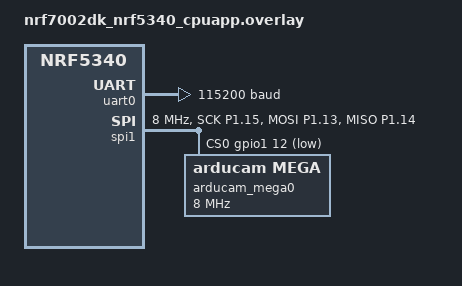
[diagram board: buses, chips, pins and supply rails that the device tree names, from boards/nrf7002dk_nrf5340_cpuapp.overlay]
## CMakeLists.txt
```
#
# Copyright (c) 2022 Nordic Semiconductor ASA
#
# SPDX-License-Identifier: LicenseRef-Nordic-5-Clause
#

cmake_minimum_required(VERSION 3.20.0)

find_package(Zephyr REQUIRED HINTS $ENV{ZEPHYR_BASE})
project(WiFiCamera)

target_sources(app PRIVATE src/main.c)
target_sources(app PRIVATE src/netUtil.c)
```

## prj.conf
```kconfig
#
# Copyright (c) 2022 Nordic Semiconductor ASA
#
# SPDX-License-Identifier: LicenseRef-Nordic-5-Clause
#

# Wi-Fi
# Enable the Wi-Fi relevant configurations
CONFIG_WIFI=y
CONFIG_WIFI_NRF700X=y
CONFIG_WPA_SUPP=y

# Configure the Wi-Fi credentials
CONFIG_WIFI_CREDENTIALS=y
CONFIG_WIFI_CREDENTIALS_STATIC=n

# Networking Management API
# Enable the Network Management relevant configurations
CONFIG_NET_MGMT=y
CONFIG_NET_MGMT_EVENT=y
CONFIG_NET_MGMT_EVENT_INFO=y
CONFIG_NET_MGMT_EVENT_STACK_SIZE=4096
CONFIG_NET_CONNECTION_MANAGER=y
CONFIG_WIFI_MGMT_EXT=y

# Enable support for shell commands
CONFIG_SHELL=y
CONFIG_WIFI_CREDENTIALS_SHELL=y
CONFIG_SHELL_STACK_SIZE=4096

# Logging
CONFIG_LOG=y
CONFIG_LOG_DEFAULT_LEVEL=3

# DK library
CONFIG_DK_LIBRARY=y

# System settings
CONFIG_NEWLIB_LIBC=y
CONFIG_NEWLIB_LIBC_NANO=n

# Networking
CONFIG_NETWORKING=y
CONFIG_NET_NATIVE=y
CONFIG_NET_SOCKETS=y
CONFIG_NET_L2_ETHERNET=y
CONFIG_NET_IPV6=n
CONFIG_NET_IPV4=y
CONFIG_NET_DHCPV4=y

# Memory
CONFIG_SYSTEM_WORKQUEUE_STACK_SIZE=4096
CONFIG_MAIN_STACK_SIZE=4096
CONFIG_HEAP_MEM_POOL_SIZE=153600

# Bluetooth
CONFIG_BT=y
CONFIG_BT_PERIPHERAL=y
CONFIG_BT_GATT_CLIENT=y
CONFIG_BT_DEVICE_NAME="Wifi_Cam_Demo"
CONFIG_BT_DEVICE_APPEARANCE=833
CONFIG_BT_MAX_CONN=1
CONFIG_BT_MAX_PAIRED=1
CONFIG_BT_BUF_ACL_RX_SIZE=502
CONFIG_BT_ATT_PREPARE_COUNT=2
CONFIG_BT_L2CAP_TX_BUF_COUNT=10
CONFIG_BT_L2CAP_TX_MTU=498
CONFIG_BT_CONN_TX_MAX=10
CONFIG_BT_BUF_ACL_TX_COUNT=10
CONFIG_BT_BUF_ACL_TX_SIZE=502
CONFIG_BT_USER_DATA_LEN_UPDATE=y
CONFIG_BT_USER_PHY_UPDATE=y
CONFIG_BT_HCI_CORE_LOG_LEVEL_INF=y
CONFIG_BT_RX_STACK_SIZE=8192

# Arducam Mega SPI Camera
CONFIG_SPI=y
CONFIG_VIDEO=y
CONFIG_VIDEO_INIT_PRIORITY=72
CONFIG_VIDEO_BUFFER_POOL_SZ_MAX=2048
CONFIG_VIDEO_BUFFER_POOL_NUM_MAX=3

CONFIG_DEBUG=y
```

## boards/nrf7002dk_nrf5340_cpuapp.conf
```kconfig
# Create a board-specific file for the secure build target
CONFIG_WIFI_CREDENTIALS_BACKEND_SETTINGS=y
CONFIG_FLASH=y
CONFIG_FLASH_PAGE_LAYOUT=y
CONFIG_FLASH_MAP=y
CONFIG_NVS=y
CONFIG_SETTINGS=y
CONFIG_SETTINGS_NVS=y
```

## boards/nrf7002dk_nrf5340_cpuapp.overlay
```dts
&uart0{
	current-speed = <115200>;
};

&pinctrl {
	spi1_default: spi1_default {
			group1 {
					psels = <NRF_PSEL(SPIM_SCK, 1, 15)>,
							<NRF_PSEL(SPIM_MOSI, 1, 13)>,
							<NRF_PSEL(SPIM_MISO, 1, 14)>;
			};
	};

	spi1_sleep: spi1_sleep {
			group1 {
					psels = <NRF_PSEL(SPIM_SCK, 1, 15)>,
							<NRF_PSEL(SPIM_MOSI, 1, 13)>,
							<NRF_PSEL(SPIM_MISO, 1, 14)>;
					low-power-enable;
			};
	};
};

&spi1 {
	clock-frequency = <8000000>;
	compatible = "nordic,nrf-spim";
	status = "okay";
	pinctrl-0 = <&spi1_default>;
	pinctrl-1 = <&spi1_sleep>;
	pinctrl-names = "default", "sleep";
	cs-gpios = <&gpio1 12 GPIO_ACTIVE_LOW>;
	arducam_mega0:arducam-mega0@0 {
			compatible = "arducam,mega";
			reg = <0>;
			spi-max-frequency = <8000000>;
			status = "okay";
	};
};
```

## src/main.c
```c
/*
 * Copyright (c) 2024 Nordic Semiconductor ASA
 *
 * SPDX-License-Identifier: LicenseRef-Nordic-5-Clause
 */

/** @file
 * @brief WiFi Camera Demo
 */

#include <zephyr/logging/log.h>
LOG_MODULE_REGISTER(WiFiCam, CONFIG_LOG_DEFAULT_LEVEL);

#if defined(CLOCK_FEATURE_HFCLK_DIVIDE_PRESENT) || NRF_CLOCK_HAS_HFCLK192M
#include <nrfx_clock.h>
#endif

#include <stdio.h>
#include <zephyr/device.h>
#include <zephyr/kernel.h>
#include <zephyr/drivers/video.h>
#include <zephyr/drivers/video/arducam_mega.h>
#include <zephyr/net/socket.h>

#include "app_bluetooth.h"

extern int socket_send;
extern uint8_t udp_recv_buf[];
extern struct k_msgq udp_recv_queue;
extern struct k_sem sockets_ready;

#define RESET_CAMERA 0XFF
#define SET_PICTURE_RESOLUTION 0X01
#define SET_VIDEO_RESOLUTION 0X02
#define SET_BRIGHTNESS 0X03
#define SET_CONTRAST 0X04
#define SET_SATURATION 0X05
#define SET_EV 0X06
#define SET_WHITEBALANCE 0X07
#define SET_SPECIAL_EFFECTS 0X08
#define SET_FOCUS_ENABLE 0X09
#define SET_EXPOSURE_GAIN_ENABLE 0X0A
#define SET_WHITE_BALANCE_ENABLE 0X0C
#define SET_MANUAL_GAIN 0X0D
#define SET_MANUAL_EXPOSURE 0X0E
#define GET_CAMERA_INFO 0X0F
#define TAKE_PICTURE 0X10
#define SET_SHARPNESS 0X11
#define DEBUG_WRITE_REGISTER 0X12
#define STOP_STREAM 0X21
#define GET_FRM_VER_INFO 0X30
#define GET_SDK_VER_INFO 0X40
#define SET_IMAGE_QUALITY 0X50
#define SET_LOWPOWER_MODE 0X60

/*
** Arducam mega communication protocols
** https://www.arducam.com/docs/arducam-mega/arducam-mega-getting-started/packs/HostCommunicationProtocol.html
*/
#define COMMAND_MAX_SIZE 6
/* actucal command not count start(0x55) and stop(0xAA) codes*/
static uint8_t command_buf[COMMAND_MAX_SIZE - 2];
static uint8_t head_and_tail[] = {0xff, 0xaa, 0x00, 0xff, 0xbb};

const struct device *video;
struct video_buffer *vbuf;

static bool preview_on = false;
static bool capture_flag = false;
static bool request_stream_stop = false;

static enum APP_MODE {
	APP_MODE_BLE,
	APP_MODE_UDP
} app_mode_current = APP_MODE_UDP;

static void on_timer_count_bytes_func(struct k_timer *timer);
K_TIMER_DEFINE(m_timer_count_bytes, on_timer_count_bytes_func, NULL);
static int counted_bytes_sent = 0;

const uint32_t pixel_format_table[] = {
	VIDEO_PIX_FMT_JPEG,
	VIDEO_PIX_FMT_RGB565,
	VIDEO_PIX_FMT_YUYV,
};

const uint16_t resolution_table[][2] = {
	{160, 120},
	{320, 240},
	{640, 480},
	{800, 600},
	{1280, 720},
	{1280, 960},
	{1600, 1200},
	{1920, 1080},
	{2048, 1536},
	{2592, 1944},
	{96, 96},
	{128, 128},
	{320, 320},
};

const uint8_t resolution_num = sizeof(resolution_table) / 4;

static uint8_t current_resolution;
static uint8_t target_resolution;
static uint8_t take_picture_fmt = 0x1a;

void cam_to_host_command_send(uint8_t type, uint8_t *buffer, uint32_t length)
{
	head_and_tail[2] = type;
	send(socket_send, &head_and_tail[0], 3, 0);
	send(socket_send, (uint8_t *)&length, 4, 0);
	send(socket_send, buffer, length, 0);
	send(socket_send, &head_and_tail[3], 2, 0);
}

int set_mega_resolution(uint8_t sfmt)
{
	uint8_t resolution = sfmt & 0x0f;
	uint8_t pixelformat = (sfmt & 0x70) >> 4;

	if (resolution > resolution_num || pixelformat > 3)
	{
		return -1;
	}
	struct video_format fmt = {.width = resolution_table[resolution][0],
							   .height = resolution_table[resolution][1],
							   .pixelformat = pixel_format_table[pixelformat - 1]};
	current_resolution = resolution;
	return video_set_format(video, VIDEO_EP_OUT, &fmt);
}

void send_picture_data_udp(uint8_t *data, int length)
{
	counted_bytes_sent += length;
	while (length >= 1024) {
		send(socket_send, data, 1024, 0); 
		data += 1024;
		length -= 1024;
	}
	if (length > 0) {
		send(socket_send, data, length, 0); 
	}
}

void send_picture_data_ble(uint8_t *data, int length)
{
	counted_bytes_sent += length;
	app_bt_send_picture_data(data, length);
}

int take_picture(enum APP_MODE mode)
{
	int err;
	enum video_frame_fragmented_status f_status;

	err = video_dequeue(video, VIDEO_EP_OUT, &vbuf, K_FOREVER);
	if (err)
	{
		LOG_ERR("Unable to dequeue video buf");
		return -1;
	}

	f_status = vbuf->flags;

	if (mode == APP_MODE_UDP) {
		head_and_tail[2] = 0x01;
		send(socket_send, &head_and_tail[0], 3, 0);
		send(socket_send, (uint8_t *)&vbuf->bytesframe, 4, 0); 
		target_resolution = (((current_resolution & 0x0f) << 4) | 0x01);
		send(socket_send, &target_resolution, 1, 0);
		send_picture_data_udp(vbuf->buffer, vbuf->bytesused);
	} else {
		app_bt_send_picture_header(vbuf->bytesframe);
		send_picture_data_ble(vbuf->buffer, vbuf->bytesused);
	}

	video_enqueue(video, VIDEO_EP_OUT, vbuf);
	while (f_status == VIDEO_BUF_FRAG)
	{
		video_dequeue(video, VIDEO_EP_OUT, &vbuf, K_FOREVER);
		f_status = vbuf->flags;
		if (mode == APP_MODE_UDP) {
			send_picture_data_udp(vbuf->buffer, vbuf->bytesused);
		} else {
			send_picture_data_ble(vbuf->buffer, vbuf->bytesused);
		}
		video_enqueue(video, VIDEO_EP_OUT, vbuf);
	}

	if (mode == APP_MODE_UDP) {
		send(socket_send, &head_and_tail[3], 2, 0);
	}

	return 0;
}

void video_preview(enum APP_MODE mode)
{
	int err;
	enum video_frame_fragmented_status f_status;
	if (!preview_on)
	{
		return;
	}
	err = video_dequeue(video, VIDEO_EP_OUT, &vbuf, K_FOREVER);
	if (err)
	{
		LOG_INF("Unable to dequeue video buf");
		return;
	}
	f_status = vbuf->flags;

	if (capture_flag)
	{
		capture_flag = false;

		if (mode == APP_MODE_BLE) {
			app_bt_send_picture_header(vbuf->bytesframe);
		} else {
			head_and_tail[2] = 0x01;
			send(socket_send, &head_and_tail[0], 3, 0);
			send(socket_send, (uint8_t *)&vbuf->bytesframe, 4, 0);
			target_resolution = (((current_resolution & 0x0f) << 4) | 0x01);
			send(socket_send, &target_resolution, 1, 0);
		}
	}

	if (mode == APP_MODE_BLE) {
		send_picture_data_ble(vbuf->buffer, vbuf->bytesused);
	} else {
		send_picture_data_udp(vbuf->buffer, vbuf->bytesused);
	}

	if (f_status == VIDEO_BUF_EOF)
	{
		if (mode == APP_MODE_UDP) {
			send(socket_send, &head_and_tail[3], 2, 0);
		}
		capture_flag = true;

		if(request_stream_stop) {
			request_stream_stop = false;
			video_stream_stop(video);
			preview_on = false;
		}
	}

	err = video_enqueue(video, VIDEO_EP_OUT, vbuf);
	if (err)
	{
		LOG_ERR("Unable to requeue video buf");
		return;
	}
}

int report_mega_info(void)
{
	static char str_buf[400];
	uint32_t str_len;
	char *mega_type;
	struct arducam_mega_info mega_info;

	video_get_ctrl(video, VIDEO_CID_ARDUCAM_INFO, &mega_info);

	switch (mega_info.camera_id)
	{
	case ARDUCAM_SENSOR_3MP_1:
	case ARDUCAM_SENSOR_3MP_2:
		mega_type = "3MP";
		break;
	case ARDUCAM_SENSOR_5MP_1:
		mega_type = "5MP";
		break;
	case ARDUCAM_SENSOR_5MP_2:
		mega_type = "5MP_2";
		break;
	default:
		return -ENODEV;
	}

	sprintf(str_buf,
			"ReportCameraInfo\r\nCamera Type:%s\r\n"
			"Camera Support Resolution:%d\r\nCamera Support "
			"special effects:%d\r\nCamera Support Focus:%d\r\n"
			"Camera Exposure Value Max:%ld\r\nCamera Exposure Value "
			"Min:%d\r\nCamera Gain Value Max:%d\r\nCamera Gain Value "
			"Min:%d\r\nCamera Support Sharpness:%d\r\n",
			mega_type, mega_info.support_resolution, mega_info.support_special_effects,
			mega_info.enable_focus, mega_info.exposure_value_max, mega_info.exposure_value_min,
			mega_info.gain_value_max, mega_info.gain_value_min, mega_info.enable_sharpness);
	printk("%s", str_buf);
	str_len = strlen(str_buf);
	cam_to_host_command_send(0x02, str_buf, str_len);
	return 0;
}

uint8_t recv_process(uint8_t *buff)
{
	LOG_INF("recv_process: cmd %x, data %x", buff[0], buff[1]);
	switch (buff[0])
	{
	case SET_PICTURE_RESOLUTION:
		LOG_INF("camcmd: SET_PICTURE_RESOLUTION");

		if (set_mega_resolution(buff[1]) == 0)
		{
			take_picture_fmt = buff[1];
		}
		break;
	case SET_VIDEO_RESOLUTION:
		LOG_INF("camcmd: SET_VIDEO_RESOLUTION");
		if (!preview_on)
		{
			LOG_INF("SET_VIDEO_RESOLUTION preview_on");
			set_mega_resolution(buff[1] | 0x10);
			video_stream_start(video);
			LOG_INF("start video stream");
			capture_flag = true;
		}
		preview_on = true;
		break;
	case SET_BRIGHTNESS:
		video_set_ctrl(video, VIDEO_CID_CAMERA_BRIGHTNESS, &buff[1]);
		break;
	case SET_CONTRAST:
		video_set_ctrl(video, VIDEO_CID_CAMERA_CONTRAST, &buff[1]);
		break;
	case SET_SATURATION:
		video_set_ctrl(video, VIDEO_CID_CAMERA_SATURATION, &buff[1]);
		break;
	case SET_EV:
		video_set_ctrl(video, VIDEO_CID_ARDUCAM_EV, &buff[1]);
		break;
	case SET_WHITEBALANCE:
		video_set_ctrl(video, VIDEO_CID_CAMERA_WHITE_BAL, &buff[1]);
		break;
	case SET_SPECIAL_EFFECTS:
		video_set_ctrl(video, VIDEO_CID_ARDUCAM_COLOR_FX, &buff[1]);
		break;
	case SET_EXPOSURE_GAIN_ENABLE:
		video_set_ctrl(video, VIDEO_CID_CAMERA_EXPOSURE_AUTO, &buff[1]);
		video_set_ctrl(video, VIDEO_CID_CAMERA_GAIN_AUTO, &buff[1]);
	case SET_WHITE_BALANCE_ENABLE:
		video_set_ctrl(video, VIDEO_CID_CAMERA_WHITE_BAL_AUTO, &buff[1]);
		break;
	case SET_SHARPNESS:
		video_set_ctrl(video, VIDEO_CID_ARDUCAM_SHARPNESS, &buff[1]);
		break;
	case SET_MANUAL_GAIN:
		uint16_t gain_value = (buff[1] << 8) | buff[2];

		video_set_ctrl(video, VIDEO_CID_CAMERA_GAIN, &gain_value);
		break;
	case SET_MANUAL_EXPOSURE:
		uint32_t exposure_value = (buff[1] << 16) | (buff[2] << 8) | buff[3];

		video_set_ctrl(video, VIDEO_CID_CAMERA_EXPOSURE, &exposure_value);
		break;
	case GET_CAMERA_INFO:
		report_mega_info();
		break;
	case TAKE_PICTURE:
		video_stream_start(video);
		take_picture(APP_MODE_UDP);
		video_stream_stop(video);
		LOG_INF("take picture");
		break;
	case STOP_STREAM:
		if (preview_on)
		{
			send(socket_send, &head_and_tail[3], 2, 0);
			video_stream_stop(video);
			set_mega_resolution(take_picture_fmt);
			LOG_INF("start video stream");
		}
		preview_on = false;
		break;
	case RESET_CAMERA:
		video_set_ctrl(video, VIDEO_CID_ARDUCAM_RESET, NULL);
		break;
	case SET_IMAGE_QUALITY:
		video_set_ctrl(video, VIDEO_CID_JPEG_COMPRESSION_QUALITY, &buff[1]);
		break;
	case SET_LOWPOWER_MODE:
		video_set_ctrl(video, VIDEO_CID_ARDUCAM_LOWPOWER, &buff[1]);
		break;
	default:
		break;
	}

	return buff[0];
}

uint8_t process_udp_rx_buffer(char *udp_rx_buf, char *command_buf)
{
	uint8_t command_length = 0;

	// Check if udp_rx_buf contains start code (0x55)
	if (udp_rx_buf[0] == 0x55)
	{
		// Find the end code (0xAA) and extract the command
		for (uint8_t i = 1; i < COMMAND_MAX_SIZE; i++)
		{
			if (udp_rx_buf[i] == 0xAA)
			{
				// Copy the command to command_buf
				for (uint8_t j = 1; j < i; j++)
				{
					command_buf[j - 1] = udp_rx_buf[j];
				}
				command_length = i - 1; // Length of the command
				break;
			}
		}
	}

	return command_length;
}

void app_bt_connected_callback(void)
{	
	LOG_INF("Bluetooth connection established. Entering BLE app mode");

	// If we are in streaming mode, stop the streaming
	if (preview_on) {
		video_stream_stop(video);
		preview_on = false;
	}

	// Set the default resolution for the BT app
	set_mega_resolution(0x11);

	app_mode_current = APP_MODE_BLE;
}

void app_bt_disconnected_callback(void)
{
	LOG_INF("Bluetooth disconnected. Entering UDP app mode");
	
	// If we are in streaming mode, stop the streaming
	if (preview_on) {
		video_stream_stop(video);
		preview_on = false;
	}

	app_mode_current = APP_MODE_UDP;
}

void app_bt_take_picture_callback(void)
{
	LOG_INF("TAKE PICTURE");
	video_stream_start(video);
	take_picture(APP_MODE_BLE);
	video_stream_stop(video);
}

void app_bt_enable_stream_callback(bool enable)
{
	// If we are already in the same state, exit
	if(enable == preview_on) return;
	
	if (enable) {
		LOG_INF("Starting stream!");
		video_stream_start(video);
		capture_flag = true;
		preview_on = true;
	} else {
		LOG_INF("Stopping stream");
		request_stream_stop = true;
	}
}

void app_bt_change_resolution_callback(uint8_t resolution)
{
	LOG_INF("Change resolution to %i", resolution);
	set_mega_resolution(0x10 | (resolution & 0xF));
}

const struct app_bt_cb app_bt_callbacks = {
	.connected = app_bt_connected_callback,
	.disconnected = app_bt_disconnected_callback,
    .take_picture = app_bt_take_picture_callback,
	.enable_stream = app_bt_enable_stream_callback,
	.change_resolution = app_bt_change_resolution_callback,
};

static void on_timer_count_bytes_func(struct k_timer *timer)
{
	if (counted_bytes_sent > 0) {
		LOG_INF("Data transferred: %i kbps", (counted_bytes_sent * 8) / 1024);
		counted_bytes_sent = 0;
	}
}

int main(void)
{
	int ret;
	struct video_buffer *buffers[3];
#if defined(CLOCK_FEATURE_HFCLK_DIVIDE_PRESENT) || NRF_CLOCK_HAS_HFCLK192M

	/* hardcode to 128MHz */
	nrfx_clock_divider_set(NRF_CLOCK_DOMAIN_HFCLK, NRF_CLOCK_HFCLK_DIV_1);
#endif
	k_sleep(K_SECONDS(1));
	printk("Starting %s with CPU frequency: %d MHz\n", CONFIG_BOARD, SystemCoreClock / MHZ(1));

	video = DEVICE_DT_GET(DT_NODELABEL(arducam_mega0));

	if (!device_is_ready(video))
	{
		LOG_ERR("Video device %s not ready.", video->name);
		return -1;
	}

	video_stream_stop(video);
	LOG_INF("Device %s is ready!", video->name);

	ret = app_bt_init(&app_bt_callbacks);
	if (ret < 0) {
		LOG_ERR("Error initializing Bluetooth");
		return -1;
	}

	/* Alloc video buffers and enqueue for capture */
	for (int i = 0; i < ARRAY_SIZE(buffers); i++)
	{
		buffers[i] = video_buffer_alloc(4096);
		if (buffers[i] == NULL)
		{
			LOG_ERR("Unable to alloc video buffer");
			return -1;
		}
		video_enqueue(video, VIDEO_EP_OUT, buffers[i]);
	}

	//k_sem_take(&sockets_ready, K_FOREVER);

	k_timer_start(&m_timer_count_bytes, K_MSEC(1000), K_MSEC(1000));

	while (1)
	{
		if (app_mode_current == APP_MODE_UDP) {
			ret = k_msgq_get(&udp_recv_queue, &udp_recv_buf, K_USEC(10));
			if (ret == 0)
			{
				ret = process_udp_rx_buffer(udp_recv_buf, command_buf);
				if (ret > 0)
				{
					LOG_INF("Valid command received. Length:%d", ret);
					LOG_HEXDUMP_INF(command_buf, ret, "Data: ");
					recv_process(command_buf);
				}
				else
				{
					LOG_INF("No valid command reviced");
				}
			}
			if (preview_on == 1)
			{
				video_preview(APP_MODE_UDP);
			}			
			k_yield();
		} else if (app_mode_current == APP_MODE_BLE) {
			if (preview_on == 1)
			{
				video_preview(APP_MODE_BLE);
			} else {
				k_msleep(100);
			}
		}
	}
	return 0;
}
```

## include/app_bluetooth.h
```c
#ifndef __APP_BLUETOOTH_H
#define __APP_BLUETOOTH_H

#include <zephyr/types.h>
#include <zephyr/kernel.h>

// Callbacks from the app_bluetooth module to the application
typedef void (*app_bt_connected_cb)(void);
typedef void (*app_bt_take_picture_cb)(void);
typedef void (*app_bt_change_resolution_cb)(uint8_t resolution);

struct app_bt_cb {
    app_bt_connected_cb connected;
    app_bt_take_picture_cb take_picture;
    app_bt_change_resolution_cb change_resolution;
};

int app_bt_init(const struct app_bt_cb *callbacks);

int app_bt_send_picture_header(uint32_t pic_size);

int app_bt_send_picture_data(uint8_t *buf, uint16_t len);

#endif
```

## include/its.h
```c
/*
 * Copyright (c) 2018 Nordic Semiconductor ASA
 *
 * SPDX-License-Identifier: LicenseRef-Nordic-5-Clause
 */

#ifndef __BT_ITS_H
#define __BT_ITS_H

#ifdef __cplusplus
extern "C" {
#endif

#include <zephyr/types.h>

#define BT_UUID_ITS_VAL \
	BT_UUID_128_ENCODE(0x6E400001, 0xB5A3, 0xF393, 0xE0A9, 0xE50E24DCCA3E)

#define BT_UUID_ITS_TX_VAL \
	BT_UUID_128_ENCODE(0x6E400003, 0xB5A3, 0xF393, 0xE0A9, 0xE50E24DCCA3E)

#define BT_UUID_ITS_RX_VAL \
	BT_UUID_128_ENCODE(0x6E400002, 0xB5A3, 0xF393, 0xE0A9, 0xE50E24DCCA3E)

#define BT_UUID_ITS_IMG_INFO_VAL \
	BT_UUID_128_ENCODE(0x6E400004, 0xB5A3, 0xF393, 0xE0A9, 0xE50E24DCCA3E)

#define BT_UUID_ITS           BT_UUID_DECLARE_128(BT_UUID_ITS_VAL)
#define BT_UUID_ITS_TX    	  BT_UUID_DECLARE_128(BT_UUID_ITS_TX_VAL)
#define BT_UUID_ITS_RX        BT_UUID_DECLARE_128(BT_UUID_ITS_RX_VAL)
#define BT_UUID_ITS_IMG_INFO  BT_UUID_DECLARE_128(BT_UUID_ITS_IMG_INFO_VAL)

enum its_rx_cmd_e {ITS_RX_CMD_SINGLE_CAPTURE = 1, 
				   ITS_RX_CMD_START_STREAM, 
				   ITS_RX_CMD_STOP_STREAM,
				   ITS_RX_CMD_CHANGE_RESOLUTION, 
				   ITS_RX_CMD_CHANGE_PHY,
				   ITS_RX_CMD_SEND_BLE_PARAMS};

struct its_rx_cb_evt_t {
	enum its_rx_cmd_e command;
	uint8_t *data;
	uint32_t len;
};

/** @brief Callback type for when an LED state change is received. */
typedef void (*its_rx_cb_t)(struct its_rx_cb_evt_t *evt);

/** @brief Callback struct used by the ITS Service. */
struct bt_its_cb {
	/** ITS RX callback. */
	its_rx_cb_t rx_cb;
};

enum its_img_info_data_type_e {ITS_IMG_INFO_DATA_TYPE_IMG_INFO = 1, ITS_IMG_INFO_DATA_TYPE_BLE_PARAMS = 2};

struct its_img_info_t {
    uint32_t file_size_bytes;   
};

struct its_ble_params_info_t {
    uint16_t mtu;
    uint16_t con_interval;
    uint8_t  tx_phy;
    uint8_t  rx_phy;
};

int bt_its_init(struct bt_its_cb *callbacks);

int bt_its_send_img_data(struct bt_conn *conn, uint8_t *buf, uint16_t length, uint16_t le_max_length);

int bt_its_send_img_info(struct its_img_info_t *img_info);

int bt_its_send_ble_params_info(struct its_ble_params_info_t *ble_params_info);

#ifdef __cplusplus
}
#endif

#endif /* BT_ITS_H_ */
```

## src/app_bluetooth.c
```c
#include "app_bluetooth.h"

#include <zephyr/bluetooth/bluetooth.h>
#include <zephyr/bluetooth/uuid.h>
#include <zephyr/bluetooth/gatt.h>
#include <zephyr/bluetooth/hci.h>
#include <zephyr/settings/settings.h>
#include "its.h"

#include <zephyr/logging/log.h>

#define LOG_MODULE_NAME app_bluetooth
LOG_MODULE_REGISTER(LOG_MODULE_NAME, LOG_LEVEL_INF);

#define DEVICE_NAME CONFIG_BT_DEVICE_NAME
#define DEVICE_NAME_LEN	(sizeof(DEVICE_NAME) - 1)

static const struct bt_le_conn_param *conn_param = BT_LE_CONN_PARAM(9, 9, 0, 400);

static struct bt_conn *current_conn;

static app_bt_connected_cb app_callback_connected;
static app_bt_disconnected_cb app_callback_disconnected;
static app_bt_take_picture_cb app_callback_take_picture;
static app_bt_enable_stream_cb app_callback_enable_stream;
static app_bt_change_resolution_cb app_callback_change_resolution;
static struct its_ble_params_info_t ble_params_info = {.con_interval = 0, .mtu = 23, .tx_phy = 1, .rx_phy = 1};

// In order to maximize data throughput, scale the notifications after the TX data length
static int le_tx_data_length = 20;

enum app_bt_internal_commands {APP_BT_INT_ITS_RX_EVT, APP_BT_INT_SCHEDULE_CONNECTED_CB, APP_BT_INT_SCHEDULE_DISCONNECTED_CB, APP_BT_INT_SCHEDULE_BLE_PARAMS_INFO_UPDATE};
static struct its_rx_cb_evt_t internal_command_evt;

void schedule_ble_params_info_update(void);

struct app_bt_command {
	enum app_bt_internal_commands command;
	struct its_rx_cb_evt_t its_rx_event;
};
K_MSGQ_DEFINE(msgq_its_rx_commands, sizeof(struct app_bt_command), 8, 4);

static const struct bt_data ad[] = {
	BT_DATA_BYTES(BT_DATA_FLAGS, (BT_LE_AD_GENERAL | BT_LE_AD_NO_BREDR)),
	BT_DATA(BT_DATA_NAME_COMPLETE, DEVICE_NAME, DEVICE_NAME_LEN),
};

static const struct bt_data sd[] = {
	BT_DATA_BYTES(BT_DATA_UUID128_ALL, BT_UUID_ITS_VAL),
};

static int schedule_internal_command(enum app_bt_internal_commands command)
{
	internal_command_evt.command = command;
	if (k_msgq_put(&msgq_its_rx_commands, &internal_command_evt, K_NO_WAIT) != 0){
		LOG_ERR("RX cmd message queue full!");
		return -ENOMEM;
	}
	return 0;
}

void att_mtu_updated(struct bt_conn *conn, uint16_t tx, uint16_t rx)
{
	LOG_INF("MTU Updated: tx %d, rx %d", tx, rx);
}

static struct bt_gatt_cb gatt_cb = {
	.att_mtu_updated = att_mtu_updated,
};

static void mtu_exchange_cb(struct bt_conn *conn, uint8_t err, struct bt_gatt_exchange_params *params)
{
	if (!err) {
		int att_mtu = bt_gatt_get_mtu(conn);
		LOG_INF("MTU exchange successful. %i bytes", att_mtu - 3); 
	} else {
		LOG_WRN("MTU exchange failed (err %" PRIu8 ")", err);
	}
}

static void connected(struct bt_conn *conn, uint8_t err)
{
	char addr[BT_ADDR_LE_STR_LEN];

	if (err) {
		LOG_ERR("Connection failed (err %u)", err);
		return;
	}

	bt_addr_le_to_str(bt_conn_get_dst(conn), addr, sizeof(addr));
	LOG_INF("Connected %s", addr);

	current_conn = bt_conn_ref(conn);

	static struct bt_gatt_exchange_params exchange_params;
	exchange_params.func = mtu_exchange_cb;

	err = bt_gatt_exchange_mtu(conn, &exchange_params);
	if (err) {
		printk("MTU exchange failed (err %d)\n", err);
	} else {
		printk("MTU exchange pending\n");
	}

	err = bt_conn_le_data_len_update(conn, BT_LE_DATA_LEN_PARAM_MAX);
	if (err) {
		LOG_ERR("LE data length update request failed: %d",  err);
	}

	err = bt_conn_le_param_update(conn, conn_param);
	if (err) {
		LOG_ERR("Cannot update connection parameter (err: %d)", err);
	}

	schedule_internal_command(APP_BT_INT_SCHEDULE_CONNECTED_CB);
}

static void disconnected(struct bt_conn *conn, uint8_t reason)
{
	char addr[BT_ADDR_LE_STR_LEN];

	bt_addr_le_to_str(bt_conn_get_dst(conn), addr, sizeof(addr));

	LOG_INF("Disconnected: %s (reason %u)", addr, reason);

	if (current_conn) {
		bt_conn_unref(current_conn);
		current_conn = NULL;
	}

	schedule_internal_command(APP_BT_INT_SCHEDULE_DISCONNECTED_CB);
}

static void connection_param_update(struct bt_conn *conn, uint16_t interval, uint16_t latency, uint16_t timeout)
{
	LOG_INF("Con params updated. Connection interval %d ms, latency %i, timeout %i ms", (int) ((float)interval*1.25f), latency, timeout * 10);
	ble_params_info.con_interval = interval;
	schedule_ble_params_info_update();
}

static void le_data_length_updated(struct bt_conn *conn,
				   struct bt_conn_le_data_len_info *info)
{
	LOG_INF("LE data length updated: TX (len: %d time: %d) RX (len: %d time: %d)", 
			info->tx_max_len, info->tx_max_time, info->rx_max_len, info->rx_max_time);

	ble_params_info.mtu = info->tx_max_len;
	schedule_ble_params_info_update();

	// Set the TX data length, which will determine the size of image data transfers. 
	// Subtract 3 bytes for ATT header and 4 bytes for L2CAP header. 
	le_tx_data_length = info->tx_max_len - 7;
	LOG_INF("Notification data length set to %i bytes", le_tx_data_length);
}

static void le_phy_updated(struct bt_conn *conn,
			   struct bt_conn_le_phy_info *param)
{
	LOG_INF("LE PHY updated: TX PHY %i, RX PHY %i\n", param->tx_phy, param->rx_phy);
	ble_params_info.tx_phy = param->tx_phy;
	ble_params_info.rx_phy = param->rx_phy;
	schedule_ble_params_info_update();
}

BT_CONN_CB_DEFINE(conn_callbacks) = {
	.connected    = connected,
	.disconnected = disconnected,
	.le_param_updated = connection_param_update,
	.le_data_len_updated = le_data_length_updated,
	.le_phy_updated = le_phy_updated,
};

void schedule_ble_params_info_update(void)
{
	internal_command_evt.command = APP_BT_INT_SCHEDULE_BLE_PARAMS_INFO_UPDATE;
	if (k_msgq_put(&msgq_its_rx_commands, &internal_command_evt, K_NO_WAIT) != 0){
		LOG_ERR("RX cmd message queue full!");
	}
}

void its_rx_callback(struct its_rx_cb_evt_t *evt)
{
	static struct app_bt_command bt_cmd = {.command = APP_BT_INT_ITS_RX_EVT};
	bt_cmd.its_rx_event = *evt;
	if (k_msgq_put(&msgq_its_rx_commands, &bt_cmd, K_NO_WAIT) != 0) {
		LOG_ERR("APP BT RX CMD queue full");
	}
}

static struct bt_its_cb its_cb = {
	.rx_cb = its_rx_callback,
};

static void app_bt_thread_func(void)
{
	int err;
	struct app_bt_command app_cmd;
	while (1) {
		k_msgq_get(&msgq_its_rx_commands, &app_cmd, K_FOREVER);

		if(app_cmd.command == APP_BT_INT_ITS_RX_EVT) {
			// Commands originating from the Image Transfer Service
			switch (app_cmd.its_rx_event.command) {
				case ITS_RX_CMD_SINGLE_CAPTURE:
					LOG_DBG("ITS RX CMD: SingleCapture");
					if (app_callback_take_picture) {
						app_callback_take_picture();
					}
					break;
				case ITS_RX_CMD_START_STREAM:
					LOG_DBG("ITS RX CMD: Start Stream");
					if (app_callback_enable_stream) {
						app_callback_enable_stream(true);
					}
					break;
				case ITS_RX_CMD_STOP_STREAM:
					LOG_DBG("ITS RX CMD: Stop stream");
					if (app_callback_enable_stream) {
						app_callback_enable_stream(false);
					}
					break;
				case ITS_RX_CMD_CHANGE_RESOLUTION:
					LOG_DBG("ITS RX CMD: Change res");
					if (app_callback_change_resolution) {
						app_callback_change_resolution(app_cmd.its_rx_event.data[0]);
					}
					break;
				case ITS_RX_CMD_CHANGE_PHY:
					LOG_DBG("ITS RX CMD: Change phy (%i)", app_cmd.its_rx_event.data[0]);
					err = bt_conn_le_phy_update(current_conn, (app_cmd.its_rx_event.data[0] == 1) ? BT_CONN_LE_PHY_PARAM_2M : BT_CONN_LE_PHY_PARAM_1M);
					if (err) {
						LOG_ERR("Phy update request failed: %d",  err);
					}
					break;
				case ITS_RX_CMD_SEND_BLE_PARAMS:
					LOG_DBG("ITS RX CMD: Send ble params");
					break;
			
				default:
					LOG_ERR("CMD:Invalid command!");
					break;
			}
		} else {
			switch (app_cmd.command) {
				case APP_BT_INT_SCHEDULE_CONNECTED_CB:
					if (app_callback_connected) {
						app_callback_connected();
					}
					break;
				case APP_BT_INT_SCHEDULE_DISCONNECTED_CB:
					if (app_callback_disconnected) {
						app_callback_disconnected();
					}
					break;
				case APP_BT_INT_SCHEDULE_BLE_PARAMS_INFO_UPDATE:
					err = bt_its_send_ble_params_info(&ble_params_info);	
					if (err) {
						LOG_ERR("Error sending ble params");
					}
					break;
				default:
					break;
			}
		}
	}
}

int app_bt_init(const struct app_bt_cb *callbacks)
{
	int err = 0;

	if (callbacks) {
		app_callback_connected = callbacks->connected;
		app_callback_disconnected = callbacks->disconnected;
		app_callback_take_picture = callbacks->take_picture;
		app_callback_enable_stream = callbacks->enable_stream;
		app_callback_change_resolution = callbacks->change_resolution;
	}

	err = bt_enable(NULL);
	if (err) {
		return err;
	}

	LOG_DBG("Bluetooth initialized");

	bt_gatt_cb_register(&gatt_cb);

	if (IS_ENABLED(CONFIG_SETTINGS)) {
		settings_load();
	}

    err = bt_its_init(&its_cb);
	if (err) {
		LOG_ERR("Failed to initialize Image Transfer Service (err: %d)", err);
		return 0;
	}

	err = bt_le_adv_start(BT_LE_ADV_CONN, ad, ARRAY_SIZE(ad), sd, ARRAY_SIZE(sd));
	if (err) {
		LOG_ERR("Advertising failed to start (err %d)", err);
		return err;
	}

    return 0;
}

int app_bt_send_picture_header(uint32_t pic_size)
{
	struct its_img_info_t img_info = {.file_size_bytes = pic_size};
	return bt_its_send_img_info(&img_info);
}

int app_bt_send_picture_data(uint8_t *buf, uint16_t len)
{
	return bt_its_send_img_data(current_conn, buf, len, le_tx_data_length);
}

K_THREAD_DEFINE(app_bt_thread, 2048, app_bt_thread_func, NULL, NULL, NULL, 
				K_PRIO_PREEMPT(K_LOWEST_APPLICATION_THREAD_PRIO), 0, 0);
```

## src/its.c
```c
/*
 * Copyright (c) 2018 Nordic Semiconductor ASA
 *
 * SPDX-License-Identifier: LicenseRef-Nordic-5-Clause
 */

/** @file
 *  @brief LED Button Service (ITS) sample
 */

#include <zephyr/types.h>
#include <stddef.h>
#include <string.h>
#include <errno.h>
#include <zephyr/sys/printk.h>
#include <zephyr/sys/byteorder.h>
#include <zephyr/kernel.h>

#include <zephyr/bluetooth/bluetooth.h>
#include <zephyr/bluetooth/hci.h>
#include <zephyr/bluetooth/conn.h>
#include <zephyr/bluetooth/uuid.h>
#include <zephyr/bluetooth/gatt.h>

#include "its.h"

#include <zephyr/logging/log.h>

LOG_MODULE_REGISTER(bt_its, LOG_LEVEL_INF);

static bool                   notify_enabled[2];
static struct bt_its_cb       its_cb;
static struct its_rx_cb_evt_t cb_evt;
static struct its_ble_params_info_t scheduled_params = {.con_interval = 0};

static void its_tx_ccc_changed(const struct bt_gatt_attr *attr,
				  uint16_t value)
{
	LOG_DBG("Notify updated on TX char, handle %i, value %i", attr->handle, value);
	notify_enabled[0] = (value == BT_GATT_CCC_NOTIFY);
}

static void its_img_info_ccc_changed(const struct bt_gatt_attr *attr,
				  uint16_t value)
{
	LOG_DBG("Notify updated on img info char, handle %i, value %i", attr->handle, value);
	notify_enabled[1] = (value == BT_GATT_CCC_NOTIFY);
	if (scheduled_params.con_interval != 0) {
		bt_its_send_ble_params_info(&scheduled_params);
		scheduled_params.con_interval = 0;
	}
}

static ssize_t its_rx_received(struct bt_conn *conn,
			 const struct bt_gatt_attr *attr,
			 const void *buf,
			 uint16_t len, uint16_t offset, uint8_t flags)
{
	LOG_DBG("Attribute write, handle: %u, conn: %p", attr->handle,
		(void *)conn);

	if (offset != 0) {
		LOG_DBG("Write RX char: Incorrect data offset");
		return BT_GATT_ERR(BT_ATT_ERR_INVALID_OFFSET);
	}

	uint8_t *byte_ptr = (uint8_t*)buf;

	if (its_cb.rx_cb) {
		cb_evt.command = byte_ptr[0];
		cb_evt.data = &byte_ptr[1];
		cb_evt.len = len - 1;
		its_cb.rx_cb(&cb_evt);
	}

	return len;
}

#ifdef CONFIG_BT_ITS_POLL_BUTTON
static ssize_t read_button(struct bt_conn *conn,
			  const struct bt_gatt_attr *attr,
			  void *buf,
			  uint16_t len,
			  uint16_t offset)
{
	const char *value = attr->user_data;

	LOG_DBG("Attribute read, handle: %u, conn: %p", attr->handle,
		(void *)conn);

	if (its_cb.button_cb) {
		button_state = its_cb.button_cb();
		return bt_gatt_attr_read(conn, attr, buf, len, offset, value,
					 sizeof(*value));
	}

	return 0;
}
#endif

/* LED Button Service Declaration */
BT_GATT_SERVICE_DEFINE(its_svc,
BT_GATT_PRIMARY_SERVICE(BT_UUID_ITS), 					    // Attr index: 0
	BT_GATT_CHARACTERISTIC(BT_UUID_ITS_TX,					// Attr index: 1,2
			       BT_GATT_CHRC_READ | BT_GATT_CHRC_NOTIFY,
			       BT_GATT_PERM_READ, NULL, NULL, NULL),
	BT_GATT_CCC(its_tx_ccc_changed,							// Attr index: 3
		    BT_GATT_PERM_READ | BT_GATT_PERM_WRITE),
	BT_GATT_CHARACTERISTIC(BT_UUID_ITS_RX,					// Attr index: 4,5
			       BT_GATT_CHRC_WRITE,
			       BT_GATT_PERM_WRITE,
			       NULL, its_rx_received, NULL),
	BT_GATT_CHARACTERISTIC(BT_UUID_ITS_IMG_INFO,			// Attr index: 6,7
			       BT_GATT_CHRC_READ | BT_GATT_CHRC_NOTIFY,
			       BT_GATT_PERM_READ, NULL, NULL, NULL),
	BT_GATT_CCC(its_img_info_ccc_changed,				    // Attr index: 8
		    BT_GATT_PERM_READ | BT_GATT_PERM_WRITE),
);

int bt_its_init(struct bt_its_cb *callbacks)
{
	if (callbacks) {
		its_cb.rx_cb = callbacks->rx_cb;
	}

	return 0;
}

int bt_its_send_img_data(struct bt_conn *conn, uint8_t *buf, uint16_t length, uint16_t le_max_length)
{
	int err;
	uint8_t *current_buf = buf;

	LOG_DBG("IMG buf length %i", length);
	while (length > le_max_length) {
		LOG_DBG("Notify TX: Len %i, Remaining: %i", le_max_length, length);
		err = bt_gatt_notify(NULL, &its_svc.attrs[2], current_buf, le_max_length);
		if (err < 0) {
			LOG_ERR("BT notify error: %i", err);
		}
		current_buf += le_max_length;
		length -= le_max_length;
	}

	LOG_DBG("Notify TX remaining %i bytes", length);
	err = bt_gatt_notify(NULL, &its_svc.attrs[2], current_buf, length);
	if (err < 0) {
		LOG_ERR("BT notify error: %i", err);
	}

	return 0;
}

int bt_its_send_img_info(struct its_img_info_t * img_info)
{
	uint8_t notify_buf[1 + sizeof(struct its_img_info_t)];

	if (!notify_enabled[1]) {
		return -EACCES;
	}

	notify_buf[0] = ITS_IMG_INFO_DATA_TYPE_IMG_INFO;
	memcpy(&notify_buf[1], img_info, sizeof(struct its_img_info_t));
	
	LOG_DBG("IMG info Notify TX %i bytes. Img size: %i", 1 + sizeof(struct its_img_info_t), img_info->file_size_bytes);

	return bt_gatt_notify(NULL, &its_svc.attrs[7], 
						  notify_buf, 1 + sizeof(struct its_img_info_t));
}

int bt_its_send_ble_params_info(struct its_ble_params_info_t* ble_params_info)
{
	uint8_t notify_buf[1 + sizeof(struct its_ble_params_info_t)];

	if (!notify_enabled[1]) {
		// If notifications have not yet been enabled, schedule the params to be sent later
		scheduled_params = *ble_params_info;
		LOG_DBG("Scheduling params info for later");
		
		return 0;
	}

	notify_buf[0] = ITS_IMG_INFO_DATA_TYPE_BLE_PARAMS;
	memcpy(&notify_buf[1], ble_params_info, sizeof(struct its_ble_params_info_t));
	
	LOG_DBG("BLE params Notify TX %i bytes",  1 + sizeof(struct its_ble_params_info_t));
	
	return bt_gatt_notify(NULL, &its_svc.attrs[7], 
						  notify_buf, 1 + sizeof(struct its_ble_params_info_t));
}
```
